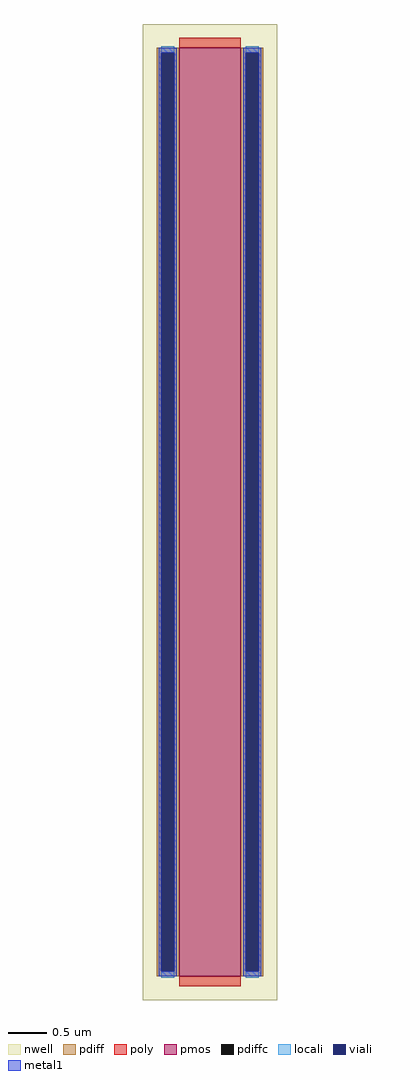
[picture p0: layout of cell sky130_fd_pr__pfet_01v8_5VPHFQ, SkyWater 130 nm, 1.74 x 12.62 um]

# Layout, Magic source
magic
tech sky130A
<< nwell >>
rect -87 -631 87 631
<< pmos >>
rect -40 -600 40 600
<< pdiff >>
rect -69 594 -40 600
rect -69 -594 -63 594
rect -46 -594 -40 594
rect -69 -600 -40 -594
rect 40 594 69 600
rect 40 -594 46 594
rect 63 -594 69 594
rect 40 -600 69 -594
<< pdiffc >>
rect -63 -594 -46 594
rect 46 -594 63 594
<< poly >>
rect -40 600 40 613
rect -40 -613 40 -600
<< locali >>
rect -63 594 -46 602
rect -63 -602 -46 -594
rect 46 594 63 602
rect 46 -602 63 -594
<< viali >>
rect -63 -594 -46 594
rect 46 -594 63 594
<< metal1 >>
rect -66 594 -43 600
rect -66 -594 -63 594
rect -46 -594 -43 594
rect -66 -600 -43 -594
rect 43 594 66 600
rect 43 -594 46 594
rect 63 -594 66 594
rect 43 -600 66 -594
<< properties >>
string gencell sky130_fd_pr__pfet_01v8
string library sky130
string parameters w 12 l 0.8 m 1 nf 1 diffcov 100 polycov 100 guard 0 glc 0 grc 0 gtc 0 gbc 0 tbcov 100 rlcov 100 topc 0 botc 0 poverlap 0 doverlap 0 lmin 0.15 wmin 0.42 compatible {sky130_fd_pr__pfet_01v8  sky130_fd_pr__pfet_01v8_lvt sky130_fd_pr__pfet_01v8_hvt  sky130_fd_pr__pfet_g5v0d10v5} full_metal 0 viasrc 100 viadrn 100 viagate 100 viagb 0 viagr 0 viagl 0 viagt 0
<< end >>
